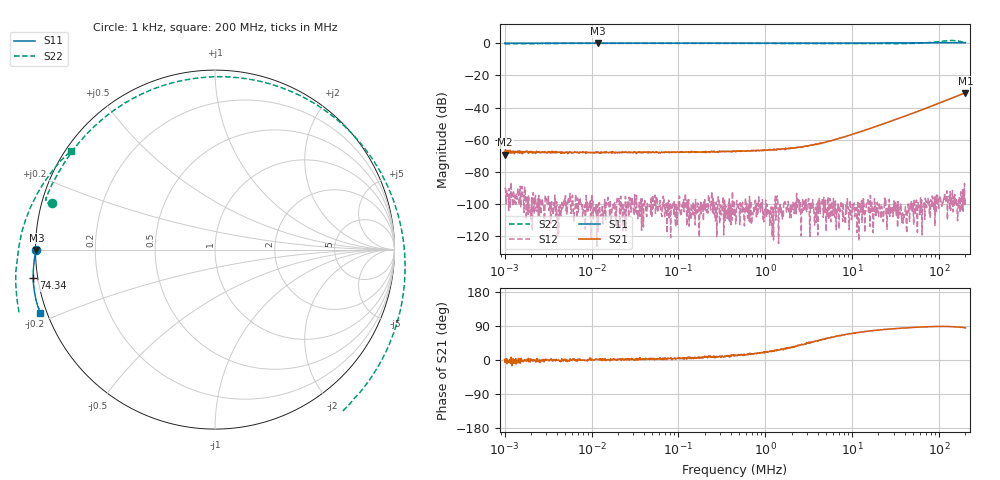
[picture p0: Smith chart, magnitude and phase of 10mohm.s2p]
! ListType=Log
# MHZ S RI R 50
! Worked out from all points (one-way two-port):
!   1000 points, 1 kHz to 200 MHz, reference 50 ohm
!   highest |S21| = -30.97 dB at 200 MHz (marker M1); lowest = -69.2 dB at 1.012 kHz (marker M2)
!   lowest |S11| = 0.0 dB at 11.95 kHz (marker M3), VSWR 427.59, Z = 0.117 - j0.0454 ohm
!   |S11| at or under -10 dB: nowhere
!   |S22| runs from -0.5 to 1.7 dB; largest |S21 - S12| = 0.028
!   S11 on the Smith chart (normalised r, x): 1 kHz: 0.00, +0.00; 74.34 MHz: -0.01, -0.08; 200 MHz: -0.02, -0.18
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0.001  -0.9987 9.83e-05  0.000419 9.9e-06  -1.15e-05 -2.99e-05  -0.9089 0.26
0.0010123  -0.9984 -0.00125  0.000344 -3.7e-05  1.21e-05 -2.87e-05  -0.9095 0.2603
0.0076941  -0.9985 1.8e-06  0.000408 -5e-07  -2.1e-06 8.4e-06  -0.9422 0.2759
0.011945  -0.9953 -0.00181  0.000414 3.9e-06  -1.2e-06 6e-07  -0.9435 0.2782
0.0584804  -0.9983 -0.000198  0.000404 2.45e-05  1.1e-06 -7.5e-06  -0.9406 0.2882
0.4499541  -0.9981 -0.000928  0.000436 0.000102  1.8e-06 7.1e-06  -0.9349 0.303
3.419952  -0.9978 -0.0105  0.000461 0.000502  -1.8e-06 -7.2e-06  -0.8867 0.4028
12.03851  -1.003 -0.033  0.000507 0.00167  -7.5e-06 -3e-07  -0.7122 0.6466
18.46267  -1.006 -0.047  0.000538 0.00251  1.7e-06 -4.3e-06  -0.5466 0.7874
26.31347  -1.008 -0.0638  0.000523 0.00354  3.6e-06 -3.5e-06  -0.3118 0.9064
37.50265  -1.01 -0.0869  0.00051 0.00502  5e-07 -5.1e-06  0.0569 0.9629
48.47245  -1.012 -0.1087  0.000493 0.00649  -4.3e-06 3.7e-06  0.4175 0.8838
60.39612  -1.013 -0.1316  0.000446 0.00813  -7.6e-06 -7.6e-06  0.7539 0.6556
74.33901  -1.013 -0.1576  0.000382 0.0101  8e-06 -1.29e-05  1.005 0.2431
87.1363  -1.012 -0.1807  0.00036 0.0119  4.8e-06 -4.1e-06  1.054 -0.2074
99.671  -1.01 -0.2026  0.000341 0.0137  -1.45e-05 -6.2e-06  0.9153 -0.6397
116.8291  -1.006 -0.2318  0.000411 0.0162  1.25e-05 -4.9e-06  0.4616 -1.075
132.0123  -1.002 -0.2567  0.00058 0.0185  -6.2e-06 -2.7e-06  -0.0885 -1.197
147.3573  -0.9977 -0.281  0.00079 0.0209  -2.1e-06 -1.69e-05  -0.6296 -1.027
166.5079  -0.9891 -0.3095  0.0013 0.0236  -7e-06 -1.02e-05  -1.054 -0.491
179.1732  -0.9802 -0.3272  0.00155 0.0257  -1.87e-05 -8.8e-06  -1.102 -0.0581
200  -0.9731 -0.3545  0.00258 0.0282  -1.29e-05 -6.6e-06  -0.8026 0.5506
